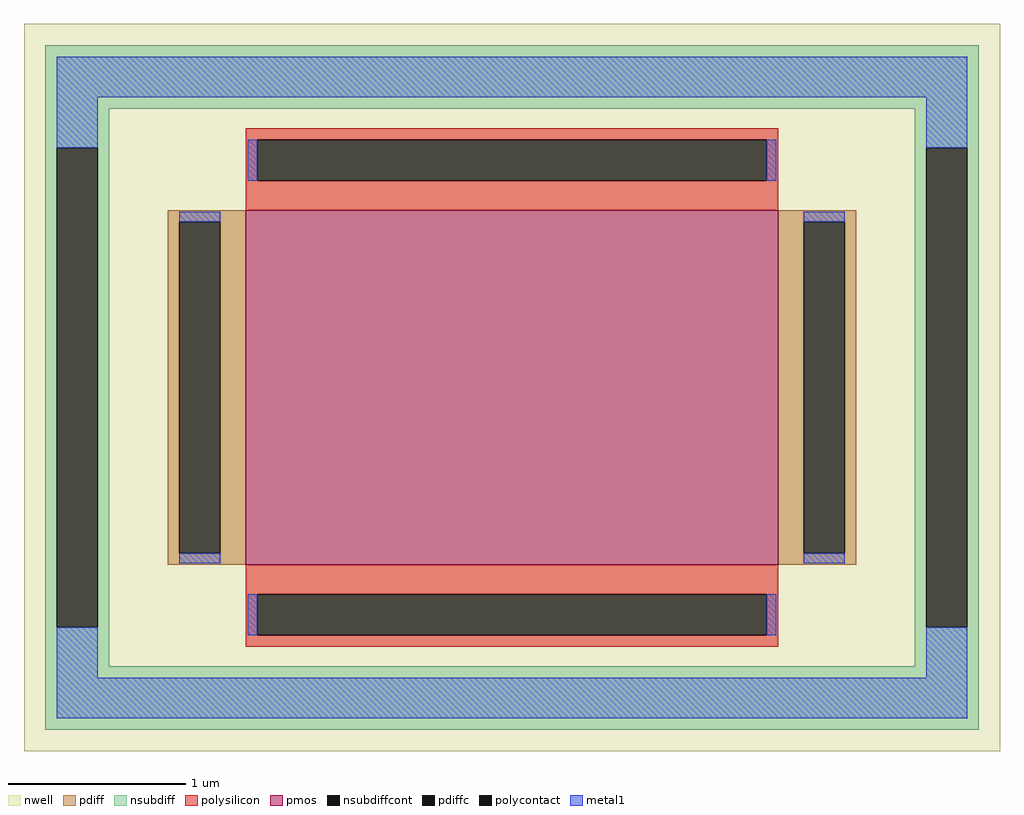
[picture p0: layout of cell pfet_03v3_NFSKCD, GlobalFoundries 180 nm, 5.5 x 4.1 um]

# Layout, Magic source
magic
tech gf180mcuD
magscale 1 10
<< nwell >>
rect -550 -410 550 410
<< pmos >>
rect -300 -200 300 200
<< pdiff >>
rect -388 187 -300 200
rect -388 -187 -375 187
rect -329 -187 -300 187
rect -388 -200 -300 -187
rect 300 187 388 200
rect 300 -187 329 187
rect 375 -187 388 187
rect 300 -200 388 -187
<< pdiffc >>
rect -375 -187 -329 187
rect 329 -187 375 187
<< nsubdiff >>
rect -526 314 526 386
rect -526 270 -454 314
rect -526 -270 -513 270
rect -467 -270 -454 270
rect 454 270 526 314
rect -526 -314 -454 -270
rect 454 -270 467 270
rect 513 -270 526 270
rect 454 -314 526 -270
rect -526 -386 526 -314
<< nsubdiffcont >>
rect -513 -270 -467 270
rect 467 -270 513 270
<< polysilicon >>
rect -300 279 300 292
rect -300 233 -287 279
rect 287 233 300 279
rect -300 200 300 233
rect -300 -233 300 -200
rect -300 -279 -287 -233
rect 287 -279 300 -233
rect -300 -292 300 -279
<< polycontact >>
rect -287 233 287 279
rect -287 -279 287 -233
<< metal1 >>
rect -513 327 513 373
rect -513 270 -467 327
rect -298 233 -287 279
rect 287 233 298 279
rect 467 270 513 327
rect -375 187 -329 198
rect -375 -198 -329 -187
rect 329 187 375 198
rect 329 -198 375 -187
rect -513 -327 -467 -270
rect -298 -279 -287 -233
rect 287 -279 298 -233
rect 467 -327 513 -270
rect -513 -373 513 -327
<< properties >>
string FIXED_BBOX -490 -350 490 350
string gencell pfet_03v3
string library gf180mcu
string parameters w 2.0 l 3.0 m 1 nf 1 diffcov 100 polycov 100 guard 1 glc 1 grc 1 gtc 0 gbc 0 tbcov 100 rlcov 100 topc 1 botc 1 poverlap 0 doverlap 1 lmin 0.28 wmin 0.22 full_metal 1 compatible {pfet_03v3 pfet_06v0}
<< end >>
